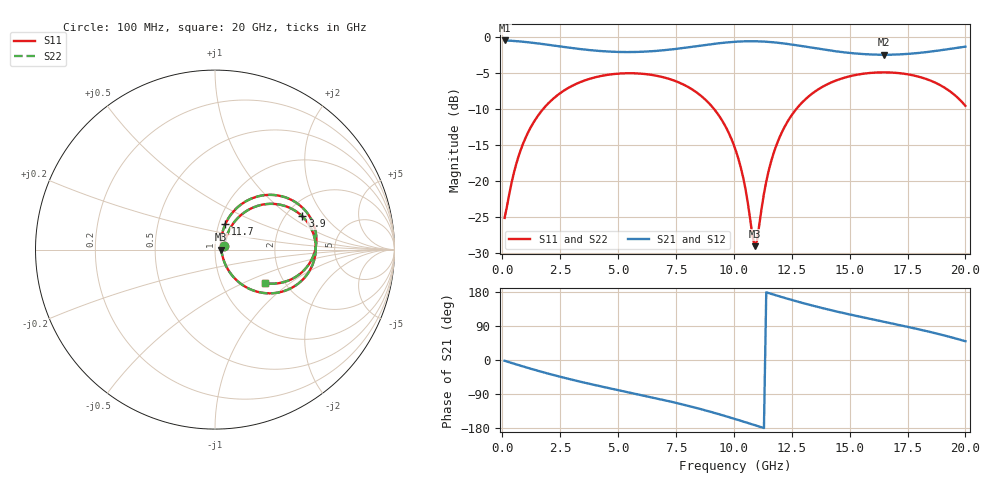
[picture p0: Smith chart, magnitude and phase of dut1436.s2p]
! Touchstone file exported from HFSS 2026.1.0
!  File:  C:/ffzhzh/LocalFiles/Ansys_Project_Files/temp_train_TSV_RDL_1436_1783356537_4416.aedt
!  Generated:  01:08:25 AM Jul  7, 2026
!  Design:  TSV_RDL
!  Project:  temp_train_TSV_RDL_1436_1783356537_4416
! Variables:
!  h_bsmrdl = 3.12um
!  h_ox = 20um
!  h_rdl = 5um
!  h_sub = 66.44um
!  h_tmrdl = 2.31um
!  h_tsv = 66.44um
!  h_via = 3um
!  l_bsmrdl = 297.44um
!  l_sub = 5248.94um
!  l_tmrdl = 958.24um
!  m_sub = 200um
!  pitch = 38.18um
!  r_tsv = 3.38um
!  s_tmrdl = 10um
!  w_bsmrdl = 28.42um
!  w_sub = 500um
!  w_tmrdl = 12.8um
!  x_tsv_center1 = 964.64um
!  x_tsv_center2 = 1290.5um
!  x_tsv_center3 = 2261.54um
!  x_tsv_center4 = 2587.4um
!  x_tsv_center5 = 3558.44um
!  x_tsv_center6 = 3884.3um
# GHz S MA R 50.000000
! Terminal data exported
! Port[1] = TM_RDL1_1_T1
! Port[2] = TM_RDL5_1_T1
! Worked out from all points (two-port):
!   200 points, 100 MHz to 20 GHz, reference 50 ohm
!   highest |S21| = -0.46 dB at 100 MHz (marker M1); lowest = -2.4 dB at 16.5 GHz (marker M2)
!   |S21| within 3 dB of the highest: start of sweep to end of sweep
!   lowest |S11| = -29.0 dB at 10.9 GHz (marker M3), VSWR 1.07, Z = 53.7 - j0.0154 ohm
!   |S11| at or under -10 dB: start of sweep to 1.76 GHz; 9.15 GHz to 12.69 GHz (3.544 GHz wide, 32.4 % of centre)
!   |S22| runs from -29.1 to -4.9 dB; largest |S21 - S12| = 1.6e-14
!   S11 on the Smith chart (normalised r, x): 100 MHz: 1.11, +0.04; 3.9 GHz: 2.45, +1.24; 11.7 GHz: 1.08, +0.31; 20 GHz: 1.59, -0.67
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0.1  0.05564 20.1  0.9482 -2.0  0.9482 -2.0  0.05564 20.1
! Gamma 0 0 0 0
! Port Impedance 50 0 50 0
0.6  0.1313 53.7  0.9379 -11.6  0.9379 -11.6  0.1313 53.7
1.3  0.2479 52.7  0.9141 -24.3  0.9141 -24.3  0.2479 52.7
2.2  0.374 42.4  0.8752 -39.5  0.8752 -39.5  0.374 42.4
3.5  0.4965 25.8  0.8217 -59.2  0.8217 -59.2  0.4965 25.8
3.9  0.5206 20.8  0.8093 -64.7  0.8093 -64.7  0.5206 20.8
5.4  0.5616 2.6  0.7877 -84.6  0.7877 -84.6  0.5616 2.6
6.8  0.5338 -14.5  0.8062 -103.2  0.8062 -103.2  0.5338 -14.5
8.8  0.3644 -41.6  0.8834 -133.4  0.8834 -133.4  0.3644 -41.6
10.1  0.1604 -56.8  0.9296 -156.6  0.9296 -156.6  0.1604 -56.9
10.5  0.08862 -53.4  0.9356 -164.2  0.9356 -164.2  0.0885 -53.5
10.9  0.0354 -0.2  0.9362 -171.8  0.9362 -171.8  0.03507 -0.3
11  0.03856 28.1  0.9355 -173.8  0.9355 -173.8  0.03825 28.3
11.4  0.09944 65.9  0.9291 178.6  0.9291 178.6  0.0993 66.1
11.7  0.1533 67.9  0.9209 173.0  0.9209 173.0  0.1532 68.1
12.4  0.2719 61.5  0.893 160.2  0.893 160.2  0.2718 61.6
13.4  0.4076 48.0  0.8433 143.5  0.8433 143.5  0.4075 48.0
15  0.5347 27.1  0.7768 120.2  0.7768 120.2  0.5346 27.2
16.5  0.5696 9.3  0.7545 100.6  0.7545 100.6  0.5695 9.3
16.7  0.5687 6.9  0.7549 98.1  0.7549 98.1  0.5687 7.0
18.3  0.5127 -12.4  0.7866 76.5  0.7866 76.5  0.5127 -12.3
20  0.3333 -34.1  0.8588 49.6  0.8588 49.6  0.3333 -34.0
